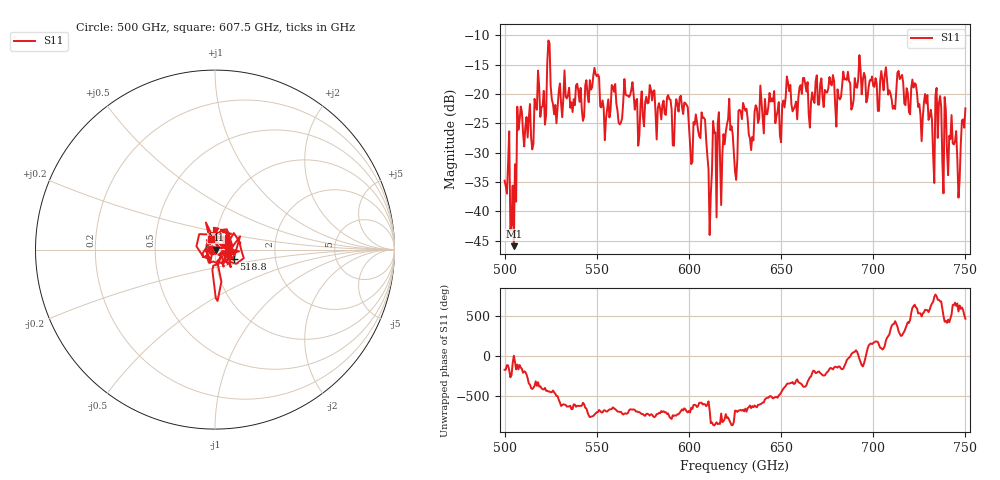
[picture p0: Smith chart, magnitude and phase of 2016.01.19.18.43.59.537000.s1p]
!Created with skrf (http://scikit-rf.org).
# GHz S RI R 50.0
!freq ReS11 ImS11
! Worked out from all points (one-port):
!   401 points, 500 GHz to 750 GHz, reference 50 ohm
!   lowest |S11| = -45.9 dB at 505 GHz (marker M1), VSWR 1.01, Z = 50.5 - j0.00413 ohm
!   |S11| at or under -10 dB: start of sweep to end of sweep
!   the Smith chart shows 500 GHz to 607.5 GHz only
!   S11 on the Smith chart (normalised r, x): 500 GHz: 0.96, -0.00; 518.8 GHz: 1.23, -0.13; 607.5 GHz: 0.95, +0.11
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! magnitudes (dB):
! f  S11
! 500 GHz  -34.8
! 505 GHz  -45.9
! 508.1 GHz  -24.5
! 518.8 GHz  -18.7
! 524.4 GHz  -11.4
! 526.9 GHz  -23.4
! 531.2 GHz  -24.0
! 550 GHz  -17.0
! 553.8 GHz  -22.3
! 559.4 GHz  -19.6
! 562.5 GHz  -25.2
! 593.8 GHz  -21.7
! 601.2 GHz  -31.9
! 607.5 GHz  -24.0
! 611.2 GHz  -44.0
! 621.2 GHz  -24.3
! 625 GHz  -33.2
! 628.1 GHz  -23.0
! 633.8 GHz  -29.6
! 656.2 GHz  -23.0
! 687.5 GHz  -18.1
! 714.4 GHz  -17.5
! 718.8 GHz  -19.8
! 722.5 GHz  -18.2
! 731.9 GHz  -24.4
! 735 GHz  -27.5
! 746.2 GHz  -37.7
! 750 GHz  -22.4
